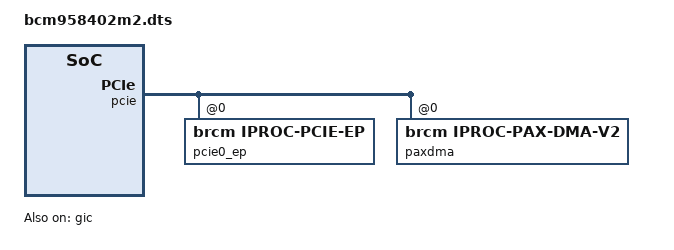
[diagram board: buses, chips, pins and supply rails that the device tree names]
/dts-v1/;

/ {
	#address-cells = < 0x1 >;
	#size-cells = < 0x1 >;
	chosen {
	};
	aliases {
	};
	soc {
		#address-cells = < 0x1 >;
		#size-cells = < 0x1 >;
		compatible = "simple-bus";
		ranges;
		sram0: memory@400000 {
			device_type = "memory";
			reg = < 0x400000 0x80000 >;
		};
		uart0: uart@40020000 {
			compatible = "ns16550";
			reg = < 0x40020000 0x400 >;
			clock-frequency = < 0x17d7840 >;
			reg-shift = < 0x2 >;
			status = "disabled";
			interrupt-parent = < &gic >;
			interrupts = < 0x0 0x18 0x2 0xa0 >;
		};
		uart1: uart@48100000 {
			compatible = "ns16550";
			reg = < 0x48100000 0x400 >;
			clock-frequency = < 0x5f5e100 >;
			reg-shift = < 0x2 >;
			status = "disabled";
			interrupt-parent = < &gic >;
			interrupts = < 0x0 0xbb 0x2 0xa0 >;
		};
		pl330: pl330@48300000 {
			compatible = "arm,dma-pl330";
			reg = < 0x48300000 0x2000 >, < 0x482f005c 0x20 >;
			reg-names = "pl330_regs", "control_regs";
			microcode = < 0x63b00000 0x1000 >;
			dma-channels = < 0x8 >;
			#dma-cells = < 0x1 >;
			phandle = < 0x2 >;
		};
		gic: interrupt-controller@42700000 {
			compatible = "arm,gic-v3", "arm,gic";
			reg = < 0x42700000 0x10000 >, < 0x42780000 0x600000 >;
			interrupt-controller;
			#interrupt-cells = < 0x4 >;
			status = "okay";
			phandle = < 0x1 >;
		};
	};
	pcie {
		#address-cells = < 0x2 >;
		#size-cells = < 0x2 >;
		pcie0_ep: pcie@4e100000 {
			compatible = "brcm,iproc-pcie-ep";
			reg = < 0x0 0x4e100000 0x0 0x2100 >, < 0x0 0x50000000 0x0 0x8000000 >, < 0x4 0x0 0x0 0x8000000 >;
			reg-names = "iproc_pcie_regs", "map_lowmem", "map_highmem";
			dmas = < &pl330 0x0 >, < &pl330 0x1 >;
			dma-names = "txdma", "rxdma";
			phandle = < 0x3 >;
		};
		paxdma: paxdma@4e100800 {
			compatible = "brcm,iproc-pax-dma-v2";
			reg = < 0x0 0x4e100800 0x0 0x2100 >, < 0x0 0x4f000000 0x0 0x200000 >, < 0x0 0x4f200000 0x0 0x10000 >;
			reg-names = "dme_regs", "rm_ring_regs", "rm_comm_regs";
			dma-channels = < 0x4 >;
			#dma-cells = < 0x1 >;
			bd-memory = < 0x63b00000 0x100000 >;
			scr-addr-loc = < 0x200061f0 >;
			scr-size-loc = < 0x200061f8 >;
			pcie-ep = < &pcie0_ep >;
			interrupt-parent = < &gic >;
			interrupts = < 0x0 0xd4 0x2 0xa0 >;
		};
	};
	cpus {
		#address-cells = < 0x1 >;
		#size-cells = < 0x0 >;
		cpu@0 {
			device_type = "cpu";
			compatible = "arm,cortex-a72";
			reg = < 0x0 >;
		};
	};
	timer {
		compatible = "arm,armv8-timer";
		interrupt-parent = < &gic >;
		interrupts = < 0x1 0xd 0x2 0xa0 >, < 0x1 0xe 0x2 0xa0 >, < 0x1 0xb 0x2 0xa0 >, < 0x1 0xa 0x2 0xa0 >;
	};
};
